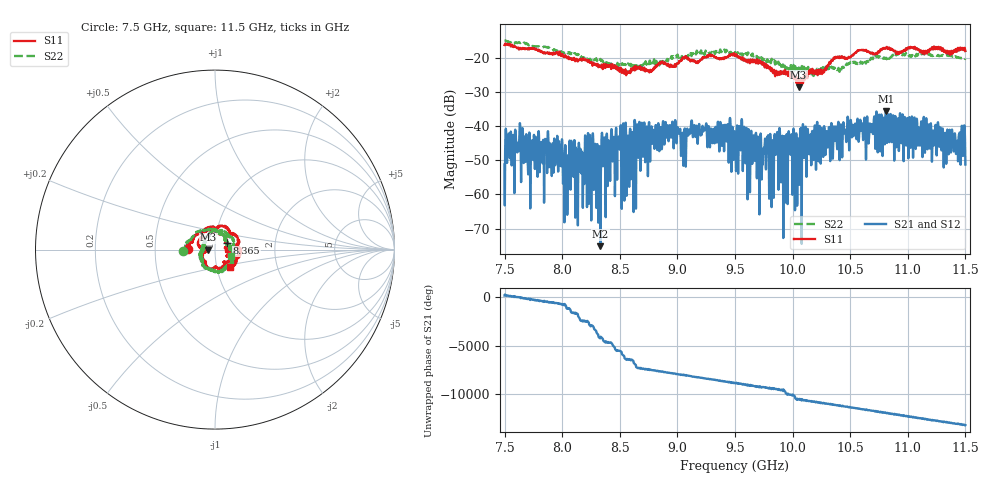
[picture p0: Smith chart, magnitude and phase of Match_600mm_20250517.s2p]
#  HZ  S  DB  R  50.00
! Rohde & Schwarz ZVA40 2Ports - Version 4.11 - 1145.1110k40 SN: 100216
! Date: 2025-05-18 21:17:03
! Measurements: S11 S21 S12 S22
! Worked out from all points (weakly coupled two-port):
!   5001 points, 7.5 GHz to 11.5 GHz, reference 50 ohm
!   highest |S21| = -35.73 dB at 10.81 GHz (marker M1); lowest = -75.1 dB at 8.331 GHz (marker M2)
!   lowest |S11| = -28.6 dB at 10.05 GHz (marker M3), VSWR 1.08, Z = 46.4 - j0.0238 ohm
!   |S11| at or under -10 dB: start of sweep to end of sweep
!   |S22| runs from -25.4 to -15.0 dB; largest |S21 - S12| = 0.00021
!   S11 on the Smith chart (normalised r, x): 7.5 GHz: 0.73, +0.01; 8.365 GHz: 1.14, +0.08; 11.5 GHz: 1.15, -0.22
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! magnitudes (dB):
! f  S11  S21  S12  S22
! 7.5 GHz  -16.3  -51.2  -51.2  -15.0
! 7.642 GHz  -17.5  -55.7  -55.9  -15.5
! 7.714 GHz  -17.5  -41.9  -41.9  -16.3
! 7.986 GHz  -19.4  -45.8  -45.8  -18.4
! 8.026 GHz  -19.3  -45.6  -45.6  -18.5
! 8.078 GHz  -20.3  -44.4  -44.4  -18.8
! 8.167 GHz  -20.7  -49.7  -49.7  -19.7
! 8.274 GHz  -21.7  -58.7  -58.3  -20.6
! 8.331 GHz  -22.7  -75.1  -76.5  -20.4
! 8.365 GHz  -22.3  -43.7  -43.6  -20.9
! 8.834 GHz  -22.1  -39.2  -39.2  -21.1
! 9.234 GHz  -19.9  -41.1  -41.1  -19.2
! 9.5 GHz  -19.4  -42.4  -42.4  -18.4
! 9.569 GHz  -20.5  -51.9  -51.8  -19.4
! 9.726 GHz  -21.3  -44.8  -44.8  -20.0
! 9.771 GHz  -22.2  -48.6  -48.6  -21.2
! 10.05 GHz  -28.6  -45.6  -45.6  -23.9
! 10.17 GHz  -23.9  -42.4  -42.4  -24.3
! 10.81 GHz  -17.2  -35.7  -35.7  -20.1
! 10.83 GHz  -17.1  -36.7  -36.7  -19.9
! 11.48 GHz  -17.6  -48.4  -48.4  -20.3
! 11.5 GHz  -18.1  -51.3  -51.2  -20.3
